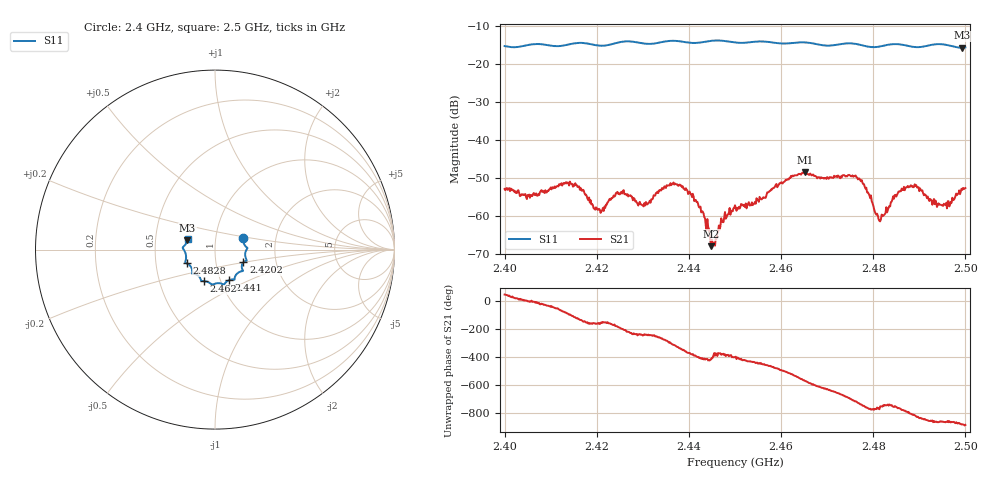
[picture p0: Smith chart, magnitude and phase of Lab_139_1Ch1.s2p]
# Hz S RI R 50
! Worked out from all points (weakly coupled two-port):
!   601 points, 2.4 GHz to 2.5 GHz, reference 50 ohm
!   highest |S21| = -48.64 dB at 2.4652 GHz (marker M1); lowest = -68.1 dB at 2.4448 GHz (marker M2)
!   lowest |S11| = -15.8 dB at 2.4993 GHz (marker M3), VSWR 1.39, Z = 36.5 + j3.85 ohm
!   |S11| at or under -10 dB: start of sweep to end of sweep
!   S12 and S22 are empty: the file has one direction only
!   S11 on the Smith chart (normalised r, x): 2.4 GHz: 1.36, +0.18; 2.4202 GHz: 1.36, -0.20; 2.441 GHz: 1.10, -0.39; 2.462 GHz: 0.84, -0.30; 2.4828 GHz: 0.72, -0.11; 2.5 GHz: 0.73, +0.09
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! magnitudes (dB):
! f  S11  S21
! 2.4 GHz  -15.4  -53.0
! 2.4167 GHz  -14.5  -53.3
! 2.4202 GHz  -15.2  -58.5
! 2.4247 GHz  -14.4  -54.3
! 2.43 GHz  -14.7  -57.4
! 2.4333 GHz  -14.5  -54.1
! 2.437 GHz  -14.0  -51.6
! 2.441 GHz  -14.6  -54.9
! 2.4448 GHz  -14.0  -68.1
! 2.45 GHz  -14.4  -57.3
! 2.462 GHz  -14.6  -50.1
! 2.4652 GHz  -14.4  -48.6
! 2.4667 GHz  -14.6  -49.4
! 2.476 GHz  -14.8  -49.6
! 2.478 GHz  -15.3  -51.8
! 2.481 GHz  -15.6  -60.0
! 2.4828 GHz  -15.1  -57.8
! 2.4833 GHz  -15.0  -57.9
! 2.4877 GHz  -15.4  -52.6
! 2.4943 GHz  -14.9  -57.1
! 2.4993 GHz  -15.8  -53.2
! 2.5 GHz  -15.7  -52.7
